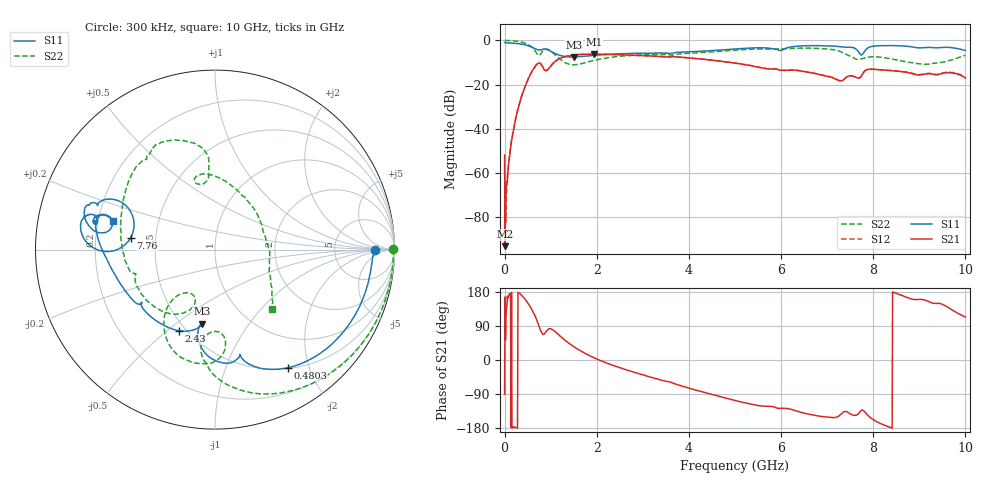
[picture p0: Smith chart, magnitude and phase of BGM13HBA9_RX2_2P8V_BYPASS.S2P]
!Agilent Technologies,E5071C,MY46316587,B.13.01
!Date: Thu Dec 07 13:25:08 2017
!Data & Calibration Information:
!Freq	S11:SOLT2(ON)	S21:SOLT2(ON)	S12:SOLT2(ON)	S22:SOLT2(ON)
!PortZ  Port1:50+j0  Port2:50+j0
!Above PortZ is port z conversion or system Z0 setting when saving the data.
!When reading, reference impedance value at option line is always used.
# Hz S dB R 50
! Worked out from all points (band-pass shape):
!   1001 points, 300 kHz to 10 GHz, reference 50 ohm
!   highest |S21| = -6.26 dB at 1.94 GHz (marker M1); lowest = -93.1 dB at 10.3 MHz (marker M2)
!   |S21| within 3 dB of the highest: 1.114 GHz to 4.616 GHz (3.502 GHz wide, 122 % of centre)
!   lowest |S11| = -7.5 dB at 1.5 GHz (marker M3), VSWR 2.45, Z = 31.1 - j31.2 ohm
!   |S11| at or under -10 dB: nowhere
!   |S22| runs from -11.1 to -0.1 dB; largest |S21 - S12| = 0.0066
!   S11 on the Smith chart (normalised r, x): 300 kHz: 17, +0; 480.3 MHz: 0.51, -1.67; 2.43 GHz: 0.46, -0.55; 7.76 GHz: 0.36, +0.06; 10 GHz: 0.26, +0.13
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300000  -1.02 0.0  -51.83 -90.5  -58.12 62.1  -0.06 0.1
1.02997e7  -1.08 -1.7  -93.07 166.5  -70.46 39.0  -0.05 -1.6
6.02982e7  -1.15 -7.8  -64.16 168.7  -62.17 165.8  -0.06 -9.1
1.202964e8  -1.20 -15.2  -50.42 175.4  -49.74 177.3  -0.11 -18.3
2.302931e8  -1.35 -28.7  -36.57 -178.2  -36.22 -178.8  -0.29 -35.1
4.802856e8  -2.23 -58.3  -19.04 154.5  -18.92 154.2  -1.58 -74.0
7.102787e8  -4.27 -76.4  -10.64 101.5  -10.60 101.4  -6.29 -96.4
8.202754e8  -4.07 -79.2  -11.70 69.2  -11.63 69.2  -4.96 -84.6
1.030269e9  -5.26 -98.3  -10.86 80.8  -10.82 80.7  -5.31 -121.0
1.500255e9  -7.54 -100.2  -6.63 35.3  -6.63 35.3  -11.07 -118.0
1.67025e9  -7.32 -100.4  -6.35 22.4  -6.33 22.6  -10.52 -111.7
1.940242e9  -6.81 -103.8  -6.26 5.8  -6.26 6.0  -9.10 -111.8
2.430227e9  -6.12 -113.8  -6.48 -17.4  -6.49 -17.1  -7.37 -123.1
3.3402e9  -5.71 -137.6  -7.25 -51.2  -7.30 -51.0  -6.39 -152.9
5.00015e9  -3.91 178.2  -10.29 -106.6  -10.25 -106.7  -4.45 145.7
6.6701e9  -2.38 163.2  -14.72 -144.6  -14.67 -144.5  -3.57 114.6
7.610072e9  -3.72 154.4  -16.59 -146.0  -16.53 -146.1  -8.35 97.3
7.760067e9  -6.49 171.8  -15.47 -132.0  -15.40 -132.1  -8.29 106.0
7.950062e9  -2.87 176.5  -13.05 -153.2  -12.98 -153.3  -7.45 102.9
8.34005e9  -2.36 168.8  -13.62 -176.6  -13.60 -176.6  -8.17 83.1
9.150026e9  -3.25 167.6  -15.18 157.2  -15.08 156.2  -10.78 14.7
1e10  -4.57 164.4  -17.10 113.6  -16.86 114.1  -6.72 -46.3
